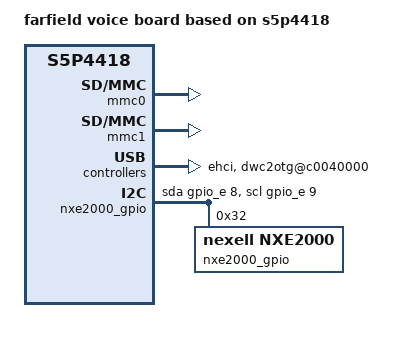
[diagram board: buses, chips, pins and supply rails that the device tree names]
/*
 * (C) Copyright 2016 Nexell
 * Deokjin, Lee <truevirtue@nexell.co.kr>
 *
 * SPDX-License-Identifier:      GPL-2.0+
 */

/dts-v1/;
#include "s5p4418.dtsi"
#include "s5p4418-ff-voice-nxe2000.dtsi"

/ {
	model = "farfield voice board based on s5p4418";
	cpu-model = "S5p4418";

	compatible = "nexell,s5p4418";

	mmc0:mmc@c0062000 {
		nexell,drive_dly = <0x0>;
		nexell,drive_shift = <0x03>;
		nexell,sample_dly = <0x00>;
		nexell,sample_shift = <0x02>;
		frequency = <50000000>;
		status = "okay";
	};

	mmc1:mmc@c0068000 {
		nexell,drive_dly = <0x0>;
		nexell,drive_shift = <0x03>;
		nexell,sample_dly = <0x00>;
		nexell,sample_shift = <0x02>;
		frequency = <50000000>;
		status ="okay";
	};

	ehci:usbhost@c0030000 {
		status = "okay";
	};

	dwc2otg@c0040000 {
		status = "okay";
	};

	nxe2000_gpio:i2c_gpio@0 {
		compatible = "i2c-gpio";
		#address-cells = <1>;
		#size-cells = <0>;
		gpios = <&gpio_e 8 1>,	/* SDA */
		      <&gpio_e 9 1>;	/* SCL */

		i2c-gpio,delay-us = <3>;
		nxe2000_gpio@32 {
			compatible = "nexell,nxe2000";
			reg = <0x32>;
		};
	};
};
